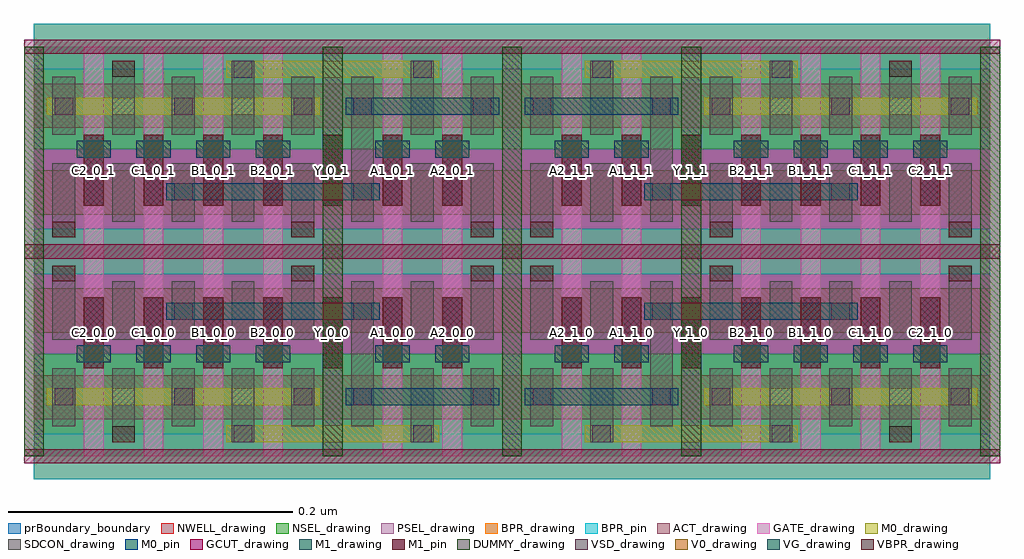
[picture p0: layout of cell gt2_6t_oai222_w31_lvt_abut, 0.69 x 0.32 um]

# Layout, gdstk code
from math import pi, radians
import gdstk
lib = gdstk.Library(unit=1e-6, precision=5e-10)
def R(c, l, rs):  # rectangles x0, y0, x1, y1
    for r in rs: c.add(gdstk.rectangle(r[:2], r[2:], *l))
def A(c, l, x, y, w, h, nx, ny, dx, dy):  # array of equal rectangles
    R(c, l, [(x+i*dx, y+j*dy, x+i*dx+w, y+j*dy+h) for i in range(nx) for j in range(ny)])
NWELL_drawing = (1, 0)
ACT_drawing = (2, 0)
GATE_drawing = (3, 0)
DUMMY_drawing = (4, 0)
GCUT_drawing = (5, 0)
NSEL_drawing = (6, 0)
PSEL_drawing = (7, 0)
BPR_drawing = (8, 0)
BPR_pin = (8, 251)
VBPR_drawing = (9, 0)
SDCON_drawing = (10, 0)
VSD_drawing = (11, 0)
VG_drawing = (12, 0)
M0_drawing = (20, 0)
M0_pin = (20, 251)
V0_drawing = (22, 0)
M1_drawing = (25, 0)
M1_pin = (25, 251)
prBoundary_boundary = (235, 250)

gt2_6t_oai222_w31_lvt = lib.new_cell('gt2_6t_oai222_w31_lvt')
R(gt2_6t_oai222_w31_lvt, NWELL_drawing, [(0,0.072,0.336,0.144)])
R(gt2_6t_oai222_w31_lvt, ACT_drawing, [(0,0.026,0.336,0.057), (0,0.087,0.336,0.118)])
A(gt2_6t_oai222_w31_lvt, GATE_drawing, -0.007, 0, 0.014, 0.144, 9, 1, 0.042, 0)
R(gt2_6t_oai222_w31_lvt, DUMMY_drawing, [(-0.007,0,0.007,0.072), (0.203,0,0.217,0.072), (0.329,0,0.343,0.072), (-0.007,0.072,0.007,0.144), (0.203,0.072,0.217,0.144), (0.329,0.072,0.343,0.144)])
R(gt2_6t_oai222_w31_lvt, GCUT_drawing, [(-0.007,-0.005,0.343,0.005), (-0.007,0.139,0.343,0.149)])
R(gt2_6t_oai222_w31_lvt, NSEL_drawing, [(0,0,0.336,0.072)])
R(gt2_6t_oai222_w31_lvt, PSEL_drawing, [(0,0.072,0.336,0.144)])
R(gt2_6t_oai222_w31_lvt, BPR_drawing, [(0,-0.016,0.336,0.016), (0,0.128,0.336,0.16)])
R(gt2_6t_oai222_w31_lvt, BPR_pin, [(0,-0.016,0.336,0.016), (0,0.128,0.336,0.16)])
R(gt2_6t_oai222_w31_lvt, VBPR_drawing, [(0.055,0.01,0.071,0.021), (0.013,0.123,0.029,0.134), (0.181,0.123,0.197,0.134), (0.307,0.123,0.323,0.134)])
A(gt2_6t_oai222_w31_lvt, SDCON_drawing, 0.013, 0.021, 0.016, 0.041, 3, 1, 0.084, 0)
A(gt2_6t_oai222_w31_lvt, SDCON_drawing, 0.055, 0.082, 0.016, 0.041, 3, 1, 0.042, 0)
R(gt2_6t_oai222_w31_lvt, SDCON_drawing, [(0.055,0.01,0.071,0.062), (0.139,0.01,0.155,0.062), (0.265,0.01,0.281,0.062), (0.223,0.021,0.239,0.123), (0.307,0.021,0.323,0.062), (0.013,0.082,0.029,0.134), (0.181,0.082,0.197,0.134), (0.265,0.082,0.281,0.123), (0.307,0.082,0.323,0.134)])
A(gt2_6t_oai222_w31_lvt, VSD_drawing, 0.0145, 0.036, 0.013, 0.012, 3, 1, 0.084, 0)
R(gt2_6t_oai222_w31_lvt, VSD_drawing, [(0.1405,0.01,0.1535,0.022), (0.2665,0.01,0.2795,0.022), (0.2245,0.036,0.2375,0.048), (0.3085,0.036,0.3215,0.048), (0.0985,0.096,0.1115,0.108), (0.2245,0.096,0.2375,0.108)])
A(gt2_6t_oai222_w31_lvt, VG_drawing, 0.035, 0.066, 0.014, 0.012, 4, 1, 0.042, 0)
R(gt2_6t_oai222_w31_lvt, VG_drawing, [(0.245,0.066,0.259,0.078), (0.287,0.066,0.301,0.078)])
A(gt2_6t_oai222_w31_lvt, M0_drawing, 0.009, 0.036, 0.024, 0.012, 3, 1, 0.084, 0)
R(gt2_6t_oai222_w31_lvt, M0_drawing, [(0.135,0.01,0.159,0.022), (0.135,0.01,0.285,0.022), (0.261,0.01,0.285,0.022), (0.009,0.036,0.201,0.048), (0.219,0.036,0.243,0.048), (0.219,0.036,0.327,0.048), (0.303,0.036,0.327,0.048), (0.03,0.066,0.054,0.078), (0.03,0.066,0.054,0.078), (0.072,0.066,0.096,0.078), (0.072,0.066,0.096,0.078), (0.114,0.066,0.138,0.078), (0.114,0.066,0.138,0.078), (0.156,0.066,0.18,0.078), (0.156,0.066,0.18,0.078), (0.24,0.066,0.264,0.078), (0.24,0.066,0.264,0.078), (0.282,0.066,0.306,0.078), (0.282,0.066,0.306,0.078), (0.093,0.096,0.117,0.108), (0.093,0.096,0.243,0.108), (0.198,0.096,0.222,0.108), (0.219,0.096,0.243,0.108)])
R(gt2_6t_oai222_w31_lvt, M0_pin, [(0.219,0.036,0.243,0.048), (0.219,0.036,0.327,0.048), (0.303,0.036,0.327,0.048), (0.03,0.066,0.054,0.078), (0.03,0.066,0.054,0.078), (0.072,0.066,0.096,0.078), (0.072,0.066,0.096,0.078), (0.114,0.066,0.138,0.078), (0.114,0.066,0.138,0.078), (0.156,0.066,0.18,0.078), (0.156,0.066,0.18,0.078), (0.24,0.066,0.264,0.078), (0.24,0.066,0.264,0.078), (0.282,0.066,0.306,0.078), (0.282,0.066,0.306,0.078), (0.093,0.096,0.117,0.108), (0.093,0.096,0.243,0.108), (0.198,0.096,0.222,0.108), (0.219,0.096,0.243,0.108)])
A(gt2_6t_oai222_w31_lvt, V0_drawing, 0.035, 0.066, 0.014, 0.012, 4, 1, 0.042, 0)
R(gt2_6t_oai222_w31_lvt, V0_drawing, [(0.245,0.066,0.259,0.078), (0.287,0.066,0.301,0.078), (0.203,0.096,0.217,0.108)])
A(gt2_6t_oai222_w31_lvt, M1_drawing, 0.035, 0.062, 0.014, 0.02, 4, 1, 0.042, 0)
A(gt2_6t_oai222_w31_lvt, M1_drawing, 0.035, 0.062, 0.014, 0.05, 7, 1, 0.042, 0)
R(gt2_6t_oai222_w31_lvt, M1_drawing, [(0.245,0.062,0.259,0.082), (0.287,0.062,0.301,0.082), (0.203,0.092,0.217,0.112)])
A(gt2_6t_oai222_w31_lvt, M1_pin, 0.035, 0.062, 0.014, 0.02, 4, 1, 0.042, 0)
A(gt2_6t_oai222_w31_lvt, M1_pin, 0.035, 0.062, 0.014, 0.05, 7, 1, 0.042, 0)
R(gt2_6t_oai222_w31_lvt, M1_pin, [(0.245,0.062,0.259,0.082), (0.287,0.062,0.301,0.082), (0.203,0.092,0.217,0.112)])
R(gt2_6t_oai222_w31_lvt, prBoundary_boundary, [(0,0,0.336,0.144)])
gt2_6t_oai222_w31_lvt.add(gdstk.Label('vss', (0.168,0), layer=8, texttype=251))
gt2_6t_oai222_w31_lvt.add(gdstk.Label('vdd', (0.168,0.144), layer=8, texttype=251))
gt2_6t_oai222_w31_lvt.add(gdstk.Label('Y', (0.231,0.042), layer=20, texttype=251))
gt2_6t_oai222_w31_lvt.add(gdstk.Label('Y', (0.315,0.042), layer=20, texttype=251))
gt2_6t_oai222_w31_lvt.add(gdstk.Label('C2', (0.042,0.072), layer=20, texttype=251))
gt2_6t_oai222_w31_lvt.add(gdstk.Label('C1', (0.084,0.072), layer=20, texttype=251))
gt2_6t_oai222_w31_lvt.add(gdstk.Label('B1', (0.126,0.072), layer=20, texttype=251))
gt2_6t_oai222_w31_lvt.add(gdstk.Label('B2', (0.168,0.072), layer=20, texttype=251))
gt2_6t_oai222_w31_lvt.add(gdstk.Label('A1', (0.252,0.072), layer=20, texttype=251))
gt2_6t_oai222_w31_lvt.add(gdstk.Label('A2', (0.294,0.072), layer=20, texttype=251))
gt2_6t_oai222_w31_lvt.add(gdstk.Label('Y', (0.105,0.102), layer=20, texttype=251))
gt2_6t_oai222_w31_lvt.add(gdstk.Label('Y', (0.231,0.102), layer=20, texttype=251))
gt2_6t_oai222_w31_lvt.add(gdstk.Label('Y', (0.273,0.042), layer=20, texttype=251))
gt2_6t_oai222_w31_lvt.add(gdstk.Label('C2', (0.042,0.072), layer=20, texttype=251))
gt2_6t_oai222_w31_lvt.add(gdstk.Label('C1', (0.084,0.072), layer=20, texttype=251))
gt2_6t_oai222_w31_lvt.add(gdstk.Label('B1', (0.126,0.072), layer=20, texttype=251))
gt2_6t_oai222_w31_lvt.add(gdstk.Label('B2', (0.168,0.072), layer=20, texttype=251))
gt2_6t_oai222_w31_lvt.add(gdstk.Label('A1', (0.252,0.072), layer=20, texttype=251))
gt2_6t_oai222_w31_lvt.add(gdstk.Label('A2', (0.294,0.072), layer=20, texttype=251))
gt2_6t_oai222_w31_lvt.add(gdstk.Label('Y', (0.168,0.102), layer=20, texttype=251))
gt2_6t_oai222_w31_lvt.add(gdstk.Label('Y', (0.21,0.102), layer=20, texttype=251))
gt2_6t_oai222_w31_lvt.add(gdstk.Label('C2', (0.042,0.072), layer=25, texttype=251))
gt2_6t_oai222_w31_lvt.add(gdstk.Label('C1', (0.084,0.072), layer=25, texttype=251))
gt2_6t_oai222_w31_lvt.add(gdstk.Label('B1', (0.126,0.072), layer=25, texttype=251))
gt2_6t_oai222_w31_lvt.add(gdstk.Label('B2', (0.168,0.072), layer=25, texttype=251))
gt2_6t_oai222_w31_lvt.add(gdstk.Label('A1', (0.252,0.072), layer=25, texttype=251))
gt2_6t_oai222_w31_lvt.add(gdstk.Label('A2', (0.294,0.072), layer=25, texttype=251))
gt2_6t_oai222_w31_lvt.add(gdstk.Label('Y', (0.21,0.102), layer=25, texttype=251))
gt2_6t_oai222_w31_lvt.add(gdstk.Label('C2', (0.042,0.087), layer=25, texttype=251))
gt2_6t_oai222_w31_lvt.add(gdstk.Label('C1', (0.084,0.087), layer=25, texttype=251))
gt2_6t_oai222_w31_lvt.add(gdstk.Label('B1', (0.126,0.087), layer=25, texttype=251))
gt2_6t_oai222_w31_lvt.add(gdstk.Label('B2', (0.168,0.087), layer=25, texttype=251))
gt2_6t_oai222_w31_lvt.add(gdstk.Label('Y', (0.21,0.087), layer=25, texttype=251))
gt2_6t_oai222_w31_lvt.add(gdstk.Label('A1', (0.252,0.087), layer=25, texttype=251))
gt2_6t_oai222_w31_lvt.add(gdstk.Label('A2', (0.294,0.087), layer=25, texttype=251))

gt2_6t_oai222_w31_lvt_ab = lib.new_cell('gt2_6t_oai222_w31_lvt_abut')
gt2_6t_oai222_w31_lvt_ab.add(gdstk.Reference(gt2_6t_oai222_w31_lvt, (0,0)))
gt2_6t_oai222_w31_lvt_ab.add(gdstk.Reference(gt2_6t_oai222_w31_lvt, (0.672,0), rotation=pi, x_reflection=True))
gt2_6t_oai222_w31_lvt_ab.add(gdstk.Reference(gt2_6t_oai222_w31_lvt, (0,0.288), x_reflection=True))
gt2_6t_oai222_w31_lvt_ab.add(gdstk.Reference(gt2_6t_oai222_w31_lvt, (0.672,0.288), rotation=pi))
gt2_6t_oai222_w31_lvt_ab.add(gdstk.Label('A1_0_0', (0.252,0.087), layer=25, texttype=251))
gt2_6t_oai222_w31_lvt_ab.add(gdstk.Label('A2_0_0', (0.294,0.087), layer=25, texttype=251))
gt2_6t_oai222_w31_lvt_ab.add(gdstk.Label('B1_0_0', (0.126,0.087), layer=25, texttype=251))
gt2_6t_oai222_w31_lvt_ab.add(gdstk.Label('B2_0_0', (0.168,0.087), layer=25, texttype=251))
gt2_6t_oai222_w31_lvt_ab.add(gdstk.Label('C1_0_0', (0.084,0.087), layer=25, texttype=251))
gt2_6t_oai222_w31_lvt_ab.add(gdstk.Label('C2_0_0', (0.042,0.087), layer=25, texttype=251))
gt2_6t_oai222_w31_lvt_ab.add(gdstk.Label('Y_0_0', (0.21,0.087), layer=25, texttype=251))
gt2_6t_oai222_w31_lvt_ab.add(gdstk.Label('A1_1_0', (0.42,0.087), layer=25, texttype=251))
gt2_6t_oai222_w31_lvt_ab.add(gdstk.Label('A2_1_0', (0.378,0.087), layer=25, texttype=251))
gt2_6t_oai222_w31_lvt_ab.add(gdstk.Label('B1_1_0', (0.546,0.087), layer=25, texttype=251))
gt2_6t_oai222_w31_lvt_ab.add(gdstk.Label('B2_1_0', (0.504,0.087), layer=25, texttype=251))
gt2_6t_oai222_w31_lvt_ab.add(gdstk.Label('C1_1_0', (0.588,0.087), layer=25, texttype=251))
gt2_6t_oai222_w31_lvt_ab.add(gdstk.Label('C2_1_0', (0.63,0.087), layer=25, texttype=251))
gt2_6t_oai222_w31_lvt_ab.add(gdstk.Label('Y_1_0', (0.462,0.087), layer=25, texttype=251))
gt2_6t_oai222_w31_lvt_ab.add(gdstk.Label('A1_0_1', (0.252,0.201), layer=25, texttype=251))
gt2_6t_oai222_w31_lvt_ab.add(gdstk.Label('A2_0_1', (0.294,0.201), layer=25, texttype=251))
gt2_6t_oai222_w31_lvt_ab.add(gdstk.Label('B1_0_1', (0.126,0.201), layer=25, texttype=251))
gt2_6t_oai222_w31_lvt_ab.add(gdstk.Label('B2_0_1', (0.168,0.201), layer=25, texttype=251))
gt2_6t_oai222_w31_lvt_ab.add(gdstk.Label('C1_0_1', (0.084,0.201), layer=25, texttype=251))
gt2_6t_oai222_w31_lvt_ab.add(gdstk.Label('C2_0_1', (0.042,0.201), layer=25, texttype=251))
gt2_6t_oai222_w31_lvt_ab.add(gdstk.Label('Y_0_1', (0.21,0.201), layer=25, texttype=251))
gt2_6t_oai222_w31_lvt_ab.add(gdstk.Label('A1_1_1', (0.42,0.201), layer=25, texttype=251))
gt2_6t_oai222_w31_lvt_ab.add(gdstk.Label('A2_1_1', (0.378,0.201), layer=25, texttype=251))
gt2_6t_oai222_w31_lvt_ab.add(gdstk.Label('B1_1_1', (0.546,0.201), layer=25, texttype=251))
gt2_6t_oai222_w31_lvt_ab.add(gdstk.Label('B2_1_1', (0.504,0.201), layer=25, texttype=251))
gt2_6t_oai222_w31_lvt_ab.add(gdstk.Label('C1_1_1', (0.588,0.201), layer=25, texttype=251))
gt2_6t_oai222_w31_lvt_ab.add(gdstk.Label('C2_1_1', (0.63,0.201), layer=25, texttype=251))
gt2_6t_oai222_w31_lvt_ab.add(gdstk.Label('Y_1_1', (0.462,0.201), layer=25, texttype=251))

lib.write_gds('gt2_6t_oai222_w31_lvt_abut.gds')
